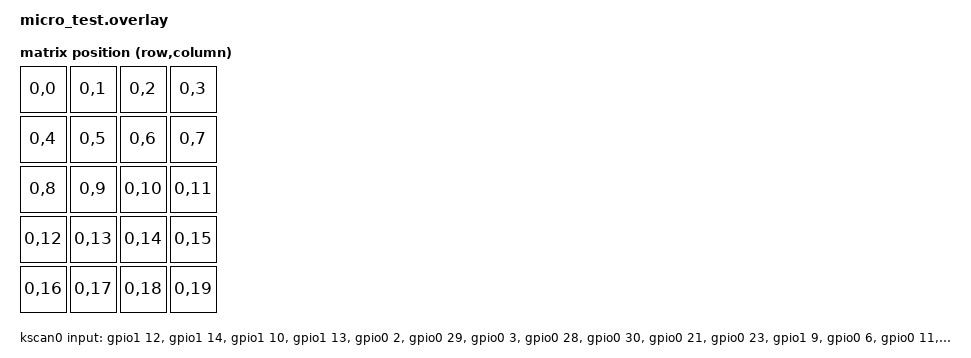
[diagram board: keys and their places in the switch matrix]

#include <dt-bindings/zmk/matrix_transform.h>

/ {
    chosen {
        zmk,kscan = &kscan0;
        zmk,physical-layout = &default_layout;
    };

    kscan0: kscan_0 {
        compatible = "zmk,kscan-gpio-direct";
        wakeup-source;

        input-gpios
            = <&gpio1 12 (GPIO_ACTIVE_LOW | GPIO_PULL_UP)>
            , <&gpio1 14 (GPIO_ACTIVE_LOW | GPIO_PULL_UP)>
            , <&gpio1 10 (GPIO_ACTIVE_LOW | GPIO_PULL_UP)>
            , <&gpio1 13 (GPIO_ACTIVE_LOW | GPIO_PULL_UP)>
            , <&gpio0 2  (GPIO_ACTIVE_LOW | GPIO_PULL_UP)>
            , <&gpio0 29 (GPIO_ACTIVE_LOW | GPIO_PULL_UP)>
            , <&gpio0 3  (GPIO_ACTIVE_LOW | GPIO_PULL_UP)>
            , <&gpio0 28 (GPIO_ACTIVE_LOW | GPIO_PULL_UP)>
            , <&gpio0 30 (GPIO_ACTIVE_LOW | GPIO_PULL_UP)>
            , <&gpio0 21 (GPIO_ACTIVE_LOW | GPIO_PULL_UP)>
            , <&gpio0 23 (GPIO_ACTIVE_LOW | GPIO_PULL_UP)>
            , <&gpio1 9  (GPIO_ACTIVE_LOW | GPIO_PULL_UP)>
            , <&gpio0 6  (GPIO_ACTIVE_LOW | GPIO_PULL_UP)>
            , <&gpio0 11 (GPIO_ACTIVE_LOW | GPIO_PULL_UP)>
            , <&gpio0 12 (GPIO_ACTIVE_LOW | GPIO_PULL_UP)>
            , <&gpio0 8  (GPIO_ACTIVE_LOW | GPIO_PULL_UP)>
            , <&gpio0 19 (GPIO_ACTIVE_LOW | GPIO_PULL_UP)>
            , <&gpio0 20 (GPIO_ACTIVE_LOW | GPIO_PULL_UP)>
            , <&gpio0 22 (GPIO_ACTIVE_LOW | GPIO_PULL_UP)>
            , <&gpio0 13 (GPIO_ACTIVE_LOW | GPIO_PULL_UP)>
            ;
    };

    default_transform: keymap_transform_0 {
        compatible = "zmk,matrix-transform";
        columns = <6>;
        rows = <4>;
// | MX1  | MX2  | MX3  | MX4  | MX17 | MX21 |
// | MX5  | MX6  | MX7  | MX8  | MX18 | MX22 |
// | MX9  | MX10 | MX11 | MX12 | MX19 | MX23 |
// | MX13 | MX14 | MX15 | MX16 | MX20 | MX24 |
        map = <
RC(0,0) RC(0,1) RC(0,2) RC(0,3)
RC(0,4) RC(0,5) RC(0,6) RC(0,7)
RC(0,8) RC(0,9) RC(0,10) RC(0,11)
RC(0,12) RC(0,13) RC(0,14) RC(0,15)
RC(0,16) RC(0,17) RC(0,18) RC(0,19)
        >;
    };

    default_layout: default_layout {
        compatible = "zmk,physical-layout";
        display-name = "Default Layout";
        transform = <&default_transform>;
        kscan = <&kscan0>;
    };
};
